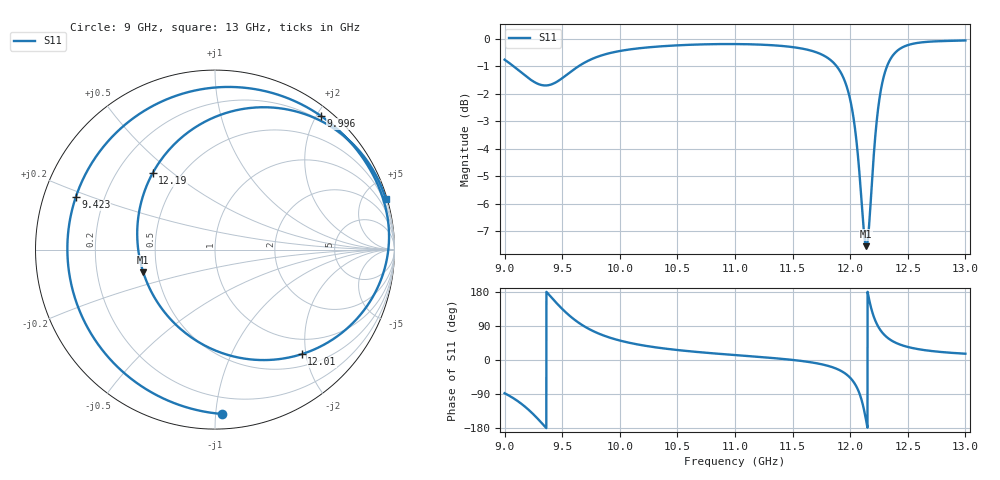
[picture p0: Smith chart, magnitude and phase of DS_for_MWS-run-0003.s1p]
! TOUCHSTONE file generated by CST DESIGN STUDIO
! Date and time: Tue Feb  4 16:28:32 2025
! Project name: C:\Work\MatlabApps\UnitCellOptimizationMatlab\CST\unitcell.cst
! Tree item: Tasks\Sweep1\SPara1\S-Parameters
! Header version: 2024
! Port assignment regex: !\s*Touchstone port\s*([0-9]+)\s*=\s*(CST MWS port|CST DES external port|CST DES block port)\s*(.+)\s* \(\"(.*)\"\)(\s*mode\s*([0-9]+))?.*
! Touchstone port assignment:
! Touchstone port 1 = CST DES external port 1 ("")
# GHz S MA R 50
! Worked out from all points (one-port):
!   4001 points, 9 GHz to 13 GHz, reference 50 ohm
!   lowest |S11| = -7.6 dB at 12.14 GHz (marker M1), VSWR 2.44, Z = 20.9 - j6.45 ohm
!   |S11| at or under -10 dB: nowhere
!   S11 on the Smith chart (normalised r, x): 9 GHz: 0.09, -1.04; 9.423 GHz: 0.10, +0.18; 9.996 GHz: 0.13, +2.06; 12.01 GHz: 0.70, -1.92; 12.19 GHz: 0.35, +0.43; 13 GHz: 0.16, +6.86
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9  0.9164 -87.7
9.11  0.8804 -107.6
9.205  0.8489 -130.5
9.323  0.8238 -166.6
9.423  0.8289 159.5
9.5  0.848 134.8
9.586  0.875 111.3
9.681  0.902 90.8
9.828  0.9311 68.3
9.996  0.9501 51.7
10  0.9504 51.4
10.5  0.9733 26.3
11  0.9785 13.0
11.5  0.9661 0.2
11.84  0.9111 -18.4
11.932  0.8576 -30.7
12  0.7749 -47.0
12.01  0.757 -50.3
12.082  0.5633 -89.5
12.11  0.4698 -118.3
12.14  0.4193 -162.3
12.164  0.4572 160.2
12.189  0.5497 129.2
12.229  0.7047 96.4
12.275  0.8252 73.7
12.368  0.9315 49.7
12.5  0.9742 34.4
13  0.9934 16.6
